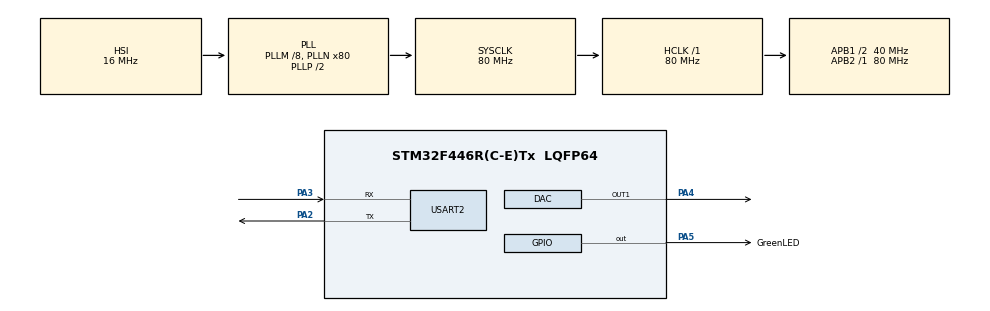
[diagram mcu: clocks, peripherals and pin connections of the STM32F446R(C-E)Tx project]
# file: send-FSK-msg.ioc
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DAC.DAC_Trigger=DAC_TRIGGER_T2_TRGO
Dma.DAC1.0.Direction=DMA_MEMORY_TO_PERIPH
Dma.DAC1.0.FIFOMode=DMA_FIFOMODE_DISABLE
Dma.DAC1.0.Instance=DMA1_Stream5
Dma.DAC1.0.MemDataAlignment=DMA_MDATAALIGN_HALFWORD
Dma.DAC1.0.MemInc=DMA_MINC_ENABLE
Dma.DAC1.0.Mode=DMA_CIRCULAR
Dma.DAC1.0.PeriphDataAlignment=DMA_PDATAALIGN_HALFWORD
Dma.DAC1.0.PeriphInc=DMA_PINC_DISABLE
Dma.DAC1.0.Priority=DMA_PRIORITY_HIGH
Dma.Request0=DAC1
Mcu.Family=STM32F4
Mcu.Name=STM32F446R(C-E)Tx
Mcu.Package=LQFP64
NVIC.DMA1_Stream5_IRQn=true\:0\:0\:false\:false\:true\:false\:true\:true
NVIC.PriorityGroup=NVIC_PRIORITYGROUP_4
PA2.Mode=Asynchronous
PA2.Signal=USART2_TX
PA3.Mode=Asynchronous
PA3.Signal=USART2_RX
PA4.Signal=COMP_DAC1_group
PA5.GPIO_Label=GreenLED
PA5.Signal=GPIO_Output
ProjectManager.HeapSize=0x200
ProjectManager.StackSize=0x400
ProjectManager.TargetToolchain=STM32CubeIDE
RCC.AHBFreq_Value=80000000
RCC.APB1CLKDivider=RCC_HCLK_DIV2
RCC.APB1Freq_Value=40000000
RCC.APB1TimFreq_Value=80000000
RCC.APB2Freq_Value=80000000
RCC.APB2TimFreq_Value=80000000
RCC.CortexFreq_Value=80000000
RCC.HCLKFreq_Value=80000000
RCC.PLLM=8
RCC.PLLN=80
RCC.SYSCLKFreq_VALUE=80000000
RCC.SYSCLKSource=RCC_SYSCLKSOURCE_PLLCLK
RCC.USBFreq_Value=80000000
RCC.VCOOutputFreq_Value=160000000
SH.COMP_DAC1_group.0=DAC_OUT1,DAC_OUT1
TIM2.Period=10000
TIM2.Prescaler=0
TIM2.TIM_MasterOutputTrigger=TIM_TRGO_UPDATE
USART2.VirtualMode=VM_ASYNC
VP_TIM2_VS_ClockSourceINT.Mode=Internal
board=custom

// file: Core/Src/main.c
/* USER CODE BEGIN Header */
/**
  ******************************************************************************
  * @file           : main.c
  * @brief          : Main program body
  ******************************************************************************
  * @attention
  *
  * Copyright (c) 2025 STMicroelectronics.
  * All rights reserved.
  *
  * This software is licensed under terms that can be found in the LICENSE file
  * in the root directory of this software component.
  * If no LICENSE file comes with this software, it is provided AS-IS.
  *
  ******************************************************************************
  */
/* USER CODE END Header */
#include "main.h"

DAC_HandleTypeDef hdac;
DMA_HandleTypeDef hdma_dac1;

TIM_HandleTypeDef htim2;

UART_HandleTypeDef huart2;

/* USER CODE BEGIN PV */

#define NS  128

uint16_t Wave_LUT[NS] = {
		1300, 1350, 1401, 1451, 1501, 1550, 1599, 1647, 1694, 1740, 1786, 1830,
		1872, 1914, 1954, 1992, 2028, 2063, 2096, 2126, 2156, 2182, 2206, 2229,
		2249, 2267, 2282, 2296, 2306, 2314, 2320, 2323, 2324, 2322, 2317, 2310,
		2301, 2289, 2275, 2258, 2240, 2218, 2194, 2169, 2141, 2112, 2080, 2046,
		2010, 1973, 1934, 1894, 1852, 1808, 1764, 1718, 1671, 1624, 1575, 1526,
		1476, 1426, 1376, 1325, 1274, 1224, 1174, 1124, 1074, 1024, 976, 928,
		882, 836, 792, 748, 706, 666, 626, 590, 554, 520, 488, 458, 430, 405,
		382, 360, 341, 324, 310, 298, 289, 282, 278, 276, 276, 280, 286, 294,
		304, 317, 332, 350, 370, 393, 418, 444, 473, 504, 536, 572, 608, 646,
		686, 727, 770, 814, 859, 905, 952, 1000, 1049, 1098, 1148, 1198, 1249, 1300
};

// generated using "msk144code" binary from wsjtx repo
// represents "CQ KK7LHY CN87"

uint16_t MSK_CQ_LUT[144] = {
		1266, 1266, 733, 733, 733, 733, 1266, 1266, 733, 1266, 733, 1266, 733, 1266,
		733, 1266, 733, 1266, 733, 1266, 733, 1266, 733, 1266, 733, 1266, 733, 1266,
		733, 1266, 733, 1266, 733, 733, 1266, 1266, 1266, 733, 733, 733, 1266, 733,
		733, 1266, 733, 1266, 1266, 1266, 733, 733, 1266, 733, 733, 733, 1266, 733,
		1266, 1266, 733, 733, 733, 733, 1266, 733, 1266, 1266, 1266, 733, 1266, 733,
		1266, 733, 733, 1266, 733, 1266, 1266, 733, 733, 733, 733, 733, 1266, 1266,
		733, 1266, 1266, 733, 733, 733, 733, 733, 733, 1266, 1266, 1266, 733, 733,
		1266, 733, 733, 1266, 1266, 733, 733, 1266, 733, 733, 733, 1266, 1266, 733,
		733, 1266, 733, 733, 733, 1266, 733, 733, 1266, 1266, 733, 733, 1266, 1266,
		733, 1266, 1266, 1266, 1266, 733, 1266, 733, 733, 1266, 733, 733, 1266, 1266,
		733, 1266, 1266, 733
};
// 80mhz system clock / 40,000 clock div = 2,000 trigger freq
// 2,000 trigger freq / 2 samples per wavecycle = 1,000 repeats per second
// 1,000 repeats * 2 tones per repeat = 2000 baud

uint16_t MSK_CQ_INV[144] = {
		733, 733, 1266, 1266, 1266, 1266, 733, 733, 1266, 733, 1266, 733, 1266, 733, 1266, 733, 1266, 733, 1266, 733, 1266, 733, 1266, 733, 1266, 733, 1266, 733, 1266, 733, 1266, 733, 1266, 1266, 733, 733, 733, 1266, 1266, 1266, 733, 1266, 1266, 733, 1266, 733, 733, 733, 1266, 1266, 733, 1266, 1266, 1266, 733, 1266, 733, 733, 1266, 1266, 1266, 1266, 733, 1266, 733, 733, 733, 1266, 733, 1266, 733, 1266, 1266, 733, 1266, 733, 733, 1266, 1266, 1266, 1266, 1266, 733, 733, 1266, 733, 733, 1266, 1266, 1266, 1266, 1266, 1266, 733, 733, 733, 1266, 1266, 733, 1266, 1266, 733, 733, 1266, 1266, 733, 1266, 1266, 1266, 733, 733, 1266, 1266, 733, 1266, 1266, 1266, 733, 1266, 1266, 733, 733, 1266, 1266, 733, 733, 1266, 733, 733, 733, 733, 1266, 733, 1266, 1266, 733, 1266, 1266, 733, 733, 1266, 733, 733, 1266
};

uint16_t MSK_QUADCQ_LUT[144] = {
		1266, 1266, 1266, 1266, 1266, 1266, 1266, 1266, 733, 733, 733, 733, 733, 733, 733, 733, 733, 733, 733, 733, 733, 733, 733, 733, 1266, 1266, 1266, 1266, 1266, 1266, 1266, 1266, 733, 733, 733, 733, 1266, 1266, 1266, 1266, 733, 733, 733, 733, 1266, 1266, 1266, 1266, 733, 733, 733, 733, 1266, 1266, 1266, 1266, 733, 733, 733, 733, 1266, 1266, 1266, 1266, 733, 733, 733, 733, 1266, 1266, 1266, 1266, 733, 733, 733, 733, 1266, 1266, 1266, 1266, 733, 733, 733, 733, 1266, 1266, 1266, 1266, 733, 733, 733, 733, 1266, 1266, 1266, 1266, 733, 733, 733, 733, 1266, 1266, 1266, 1266, 733, 733, 733, 733, 1266, 1266, 1266, 1266, 733, 733, 733, 733, 1266, 1266, 1266, 1266, 733, 733, 733, 733, 1266, 1266, 1266, 1266, 733, 733, 733, 733, 733, 733, 733, 733, 1266, 1266, 1266, 1266, 1266, 1266, 1266, 1266
};

uint16_t MSK_FAKE_LUT[144] = {
		733, 1266, 733, 1266, 733, 1266, 733, 1266, 733, 1266, 733, 1266, 733, 1266, 733, 1266,
		733, 1266, 733, 1266, 733, 1266, 733, 1266, 733, 1266, 733, 1266, 733, 1266, 733, 1266,
		733, 1266, 733, 1266, 733, 1266, 733, 1266, 733, 1266, 733, 1266, 733, 1266, 733, 1266,
		733, 1266, 733, 1266, 733, 1266, 733, 1266, 733, 1266, 733, 1266, 733, 1266, 733, 1266,
		733, 1266, 733, 1266, 733, 1266, 733, 1266, 733, 1266, 733, 1266, 733, 1266, 733, 1266,
		733, 1266, 733, 1266, 733, 1266, 733, 1266, 733, 1266, 733, 1266, 733, 1266, 733, 1266,
		733, 1266, 733, 1266, 733, 1266, 733, 1266, 733, 1266, 733, 1266, 733, 1266, 733, 1266,
		733, 1266, 733, 1266, 733, 1266, 733, 1266, 733, 1266, 733, 1266, 733, 1266, 733, 1266,
		733, 1266, 733, 1266, 733, 1266, 733, 1266, 733, 1266, 733, 1266, 733, 1266, 733, 1266
};

uint16_t MSK_QUADFAKE_LUT[144] = {
		733, 733, 733, 733, 1266, 1266, 1266, 1266, 733, 733, 733, 733, 1266, 1266, 1266, 1266,
		733, 733, 733, 733, 1266, 1266, 1266, 1266, 733, 733, 733, 733, 1266, 1266, 1266, 1266,
		733, 733, 733, 733, 1266, 1266, 1266, 1266, 733, 733, 733, 733, 1266, 1266, 1266, 1266,
		733, 733, 733, 733, 1266, 1266, 1266, 1266, 733, 733, 733, 733, 1266, 1266, 1266, 1266,
		733, 733, 733, 733, 1266, 1266, 1266, 1266, 733, 733, 733, 733, 1266, 1266, 1266, 1266,
		733, 733, 733, 733, 1266, 1266, 1266, 1266, 733, 733, 733, 733, 1266, 1266, 1266, 1266,
		733, 733, 733, 733, 1266, 1266, 1266, 1266, 733, 733, 733, 733, 1266, 1266, 1266, 1266,
		733, 733, 733, 733, 1266, 1266, 1266, 1266, 733, 733, 733, 733, 1266, 1266, 1266, 1266,
		733, 733, 733, 733, 1266, 1266, 1266, 1266, 733, 733, 733, 733, 1266, 1266, 1266, 1266
};
// 80mhz system clock / 10,000 clock div = 8,000 trigger freq
// 8,000 trigger freq / 4 samples per symbol = 2000 baud

uint16_t MSK_NARFAKE_LUT[144] = {
		866, 1133, 866, 1133, 866, 1133, 866, 1133, 866, 1133, 866, 1133, 866, 1133, 866, 1133,
		866, 1133, 866, 1133, 866, 1133, 866, 1133, 866, 1133, 866, 1133, 866, 1133, 866, 1133,
		866, 1133, 866, 1133, 866, 1133, 866, 1133, 866, 1133, 866, 1133, 866, 1133, 866, 1133,
		866, 1133, 866, 1133, 866, 1133, 866, 1133, 866, 1133, 866, 1133, 866, 1133, 866, 1133,
		866, 1133, 866, 1133, 866, 1133, 866, 1133, 866, 1133, 866, 1133, 866, 1133, 866, 1133,
		866, 1133, 866, 1133, 866, 1133, 866, 1133, 866, 1133, 866, 1133, 866, 1133, 866, 1133,
		866, 1133, 866, 1133, 866, 1133, 866, 1133, 866, 1133, 866, 1133, 866, 1133, 866, 1133,
		866, 1133, 866, 1133, 866, 1133, 866, 1133, 866, 1133, 866, 1133, 866, 1133, 866, 1133,
		866, 1133, 866, 1133, 866, 1133, 866, 1133, 866, 1133, 866, 1133, 866, 1133, 866, 1133
};

uint16_t MSK_WIDFAKE_LUT[144] = {
		466, 1533, 466, 1533, 466, 1533, 466, 1533, 466, 1533, 466, 1533, 466, 1533, 466, 1533,
		466, 1533, 466, 1533, 466, 1533, 466, 1533, 466, 1533, 466, 1533, 466, 1533, 466, 1533,
		466, 1533, 466, 1533, 466, 1533, 466, 1533, 466, 1533, 466, 1533, 466, 1533, 466, 1533,
		466, 1533, 466, 1533, 466, 1533, 466, 1533, 466, 1533, 466, 1533, 466, 1533, 466, 1533,
		466, 1533, 466, 1533, 466, 1533, 466, 1533, 466, 1533, 466, 1533, 466, 1533, 466, 1533,
		466, 1533, 466, 1533, 466, 1533, 466, 1533, 466, 1533, 466, 1533, 466, 1533, 466, 1533,
		466, 1533, 466, 1533, 466, 1533, 466, 1533, 466, 1533, 466, 1533, 466, 1533, 466, 1533,
		466, 1533, 466, 1533, 466, 1533, 466, 1533, 466, 1533, 466, 1533, 466, 1533, 466, 1533,
		466, 1533, 466, 1533, 466, 1533, 466, 1533, 466, 1533, 466, 1533, 466, 1533, 466, 1533
};

uint16_t MSK_SMOOTH_LUT[160] = {
		733, 733, 733, 733, 733, 733, 733, 733, 733, 733, 733, 733, 733, 733, 733, 733,
		733, 733, 733, 733, 733, 733, 733, 733, 733, 733, 733, 733, 733, 733, 733, 733,
		740, 750, 770, 790, 820, 860, 910, 960, 1040, 1090, 1140, 1180, 1210, 1230, 1250, 1260,
		1266, 1266, 1266, 1266, 1266, 1266, 1266, 1266, 1266, 1266, 1266, 1266, 1266, 1266, 1266, 1266,
		1266, 1266, 1266, 1266, 1266, 1266, 1266, 1266, 1266, 1266, 1266, 1266, 1266, 1266, 1266, 1266,
		1266, 1266, 1266, 1266, 1266, 1266, 1266, 1266, 1266, 1266, 1266, 1266, 1266, 1266, 1266, 1266,
		1266, 1266, 1266, 1266, 1266, 1266, 1266, 1266, 1266, 1266, 1266, 1266, 1266, 1266, 1266, 1266,
		1260, 1250, 1230, 1210, 1180, 1140, 1090, 1040, 960, 910, 860, 820, 790, 770, 750, 740,
		733, 733, 733, 733, 733, 733, 733, 733, 733, 733, 733, 733, 733, 733, 733, 733,
		733, 733, 733, 733, 733, 733, 733, 733, 733, 733, 733, 733, 733, 733, 733, 733
};
// 80mhz system clock / 500 clock div = 160,000 trigger freq
// 160,000 trigger freq / 160 samples per wavecycle = 1,000 repeats per second
// 1,000 repeats * 2 tones per repeat = 2000 baud

uint16_t MSK_SMOOTHWIDE_LUT[160] = {
		466, 466, 466, 466, 466, 466, 466, 466, 466, 466, 466, 466, 466, 466, 466, 466, 466, 466, 466, 466, 466, 466, 466, 466, 466, 466, 466, 466, 466, 466, 466, 466, 480, 500, 540, 580, 640, 720, 820, 920, 1080, 1180, 1280, 1360, 1420, 1460, 1500, 1520, 1532, 1532, 1532, 1532, 1532, 1532, 1532, 1532, 1532, 1532, 1532, 1532, 1532, 1532, 1532, 1532, 1532, 1532, 1532, 1532, 1532, 1532, 1532, 1532, 1532, 1532, 1532, 1532, 1532, 1532, 1532, 1532, 1532, 1532, 1532, 1532, 1532, 1532, 1532, 1532, 1532, 1532, 1532, 1532, 1532, 1532, 1532, 1532, 1532, 1532, 1532, 1532, 1532, 1532, 1532, 1532, 1532, 1532, 1532, 1532, 1532, 1532, 1532, 1532, 1520, 1500, 1460, 1420, 1360, 1280, 1180, 1080, 920, 820, 720, 640, 580, 540, 500, 480, 466, 466, 466, 466, 466, 466, 466, 466, 466, 466, 466, 466, 466, 466, 466, 466, 466, 466, 466, 466, 466, 466, 466, 466, 466, 466, 466, 466, 466, 466, 466, 466
};

/* USER CODE END PV */

void SystemClock_Config(void);
static void MX_GPIO_Init(void);
static void MX_DMA_Init(void);
static void MX_USART2_UART_Init(void);
static void MX_DAC_Init(void);
static void MX_TIM2_Init(void);

int main(void)
{

  /* MCU Configuration--------------------------------------------------------*/

  /* Reset of all peripherals, Initializes the Flash interface and the Systick. */
  HAL_Init();

  /* Configure the system clock */
  SystemClock_Config();

  /* Initialize all configured peripherals */
  MX_GPIO_Init();
  MX_DMA_Init();
  MX_USART2_UART_Init();
  MX_DAC_Init();
  MX_TIM2_Init();
  /* USER CODE BEGIN 2 */

  //uint8_t is_set = 0;

  HAL_DAC_Start_DMA(&hdac, DAC_CHANNEL_1, (uint16_t*)MSK_QUADCQ_LUT, 144, DAC_ALIGN_12B_R);
  HAL_TIM_Base_Start(&htim2);

  /* USER CODE END 2 */

  /* Infinite loop */
  /* USER CODE BEGIN WHILE */
  while (1)
  {
	//HAL_GPIO_WritePin(GPIOA, GPIO_PIN_5, is_set);
	//is_set = (is_set + 1) % 2;
	//HAL_Delay(1000);
    /* USER CODE END WHILE */

  }
}

void SystemClock_Config(void)
{
  RCC_OscInitTypeDef RCC_OscInitStruct = {0};
  RCC_ClkInitTypeDef RCC_ClkInitStruct = {0};

  /** Configure the main internal regulator output voltage
  */
  __HAL_RCC_PWR_CLK_ENABLE();
  __HAL_PWR_VOLTAGESCALING_CONFIG(PWR_REGULATOR_VOLTAGE_SCALE3);

  /** Initializes the RCC Oscillators according to the specified parameters
  * in the RCC_OscInitTypeDef structure.
  */
  RCC_OscInitStruct.OscillatorType = RCC_OSCILLATORTYPE_HSI;
  RCC_OscInitStruct.HSIState = RCC_HSI_ON;
  RCC_OscInitStruct.HSICalibrationValue = RCC_HSICALIBRATION_DEFAULT;
  RCC_OscInitStruct.PLL.PLLState = RCC_PLL_ON;
  RCC_OscInitStruct.PLL.PLLSource = RCC_PLLSOURCE_HSI;
  RCC_OscInitStruct.PLL.PLLM = 8;
  RCC_OscInitStruct.PLL.PLLN = 80;
  RCC_OscInitStruct.PLL.PLLP = RCC_PLLP_DIV2;
  RCC_OscInitStruct.PLL.PLLQ = 2;
  RCC_OscInitStruct.PLL.PLLR = 2;
  if (HAL_RCC_OscConfig(&RCC_OscInitStruct) != HAL_OK)
  {
    Error_Handler();
  }

  /** Initializes the CPU, AHB and APB buses clocks
  */
  RCC_ClkInitStruct.ClockType = RCC_CLOCKTYPE_HCLK|RCC_CLOCKTYPE_SYSCLK
                              |RCC_CLOCKTYPE_PCLK1|RCC_CLOCKTYPE_PCLK2;
  RCC_ClkInitStruct.SYSCLKSource = RCC_SYSCLKSOURCE_PLLCLK;
  RCC_ClkInitStruct.AHBCLKDivider = RCC_SYSCLK_DIV1;
  RCC_ClkInitStruct.APB1CLKDivider = RCC_HCLK_DIV2;
  RCC_ClkInitStruct.APB2CLKDivider = RCC_HCLK_DIV1;

  if (HAL_RCC_ClockConfig(&RCC_ClkInitStruct, FLASH_LATENCY_2) != HAL_OK)
  {
    Error_Handler();
  }
}

static void MX_DAC_Init(void)
{

  DAC_ChannelConfTypeDef sConfig = {0};

  /** DAC Initialization
  */
  hdac.Instance = DAC;
  if (HAL_DAC_Init(&hdac) != HAL_OK)
  {
    Error_Handler();
  }

  /** DAC channel OUT1 config
  */
  sConfig.DAC_Trigger = DAC_TRIGGER_T2_TRGO;
  sConfig.DAC_OutputBuffer = DAC_OUTPUTBUFFER_ENABLE;
  if (HAL_DAC_ConfigChannel(&hdac, &sConfig, DAC_CHANNEL_1) != HAL_OK)
  {
    Error_Handler();
  }

}

static void MX_TIM2_Init(void)
{

  TIM_ClockConfigTypeDef sClockSourceConfig = {0};
  TIM_MasterConfigTypeDef sMasterConfig = {0};

  htim2.Instance = TIM2;
  htim2.Init.Prescaler = 0;
  htim2.Init.CounterMode = TIM_COUNTERMODE_UP;
  htim2.Init.Period = 10000;
  htim2.Init.ClockDivision = TIM_CLOCKDIVISION_DIV1;
  htim2.Init.AutoReloadPreload = TIM_AUTORELOAD_PRELOAD_DISABLE;
  if (HAL_TIM_Base_Init(&htim2) != HAL_OK)
  {
    Error_Handler();
  }
  sClockSourceConfig.ClockSource = TIM_CLOCKSOURCE_INTERNAL;
  if (HAL_TIM_ConfigClockSource(&htim2, &sClockSourceConfig) != HAL_OK)
  {
    Error_Handler();
  }
  sMasterConfig.MasterOutputTrigger = TIM_TRGO_UPDATE;
  sMasterConfig.MasterSlaveMode = TIM_MASTERSLAVEMODE_DISABLE;
  if (HAL_TIMEx_MasterConfigSynchronization(&htim2, &sMasterConfig) != HAL_OK)
  {
    Error_Handler();
  }

}

static void MX_USART2_UART_Init(void)
{

  huart2.Instance = USART2;
  huart2.Init.BaudRate = 115200;
  huart2.Init.WordLength = UART_WORDLENGTH_8B;
  huart2.Init.StopBits = UART_STOPBITS_1;
  huart2.Init.Parity = UART_PARITY_NONE;
  huart2.Init.Mode = UART_MODE_TX_RX;
  huart2.Init.HwFlowCtl = UART_HWCONTROL_NONE;
  huart2.Init.OverSampling = UART_OVERSAMPLING_16;
  if (HAL_UART_Init(&huart2) != HAL_OK)
  {
    Error_Handler();
  }

}

static void MX_DMA_Init(void)
{

  /* DMA controller clock enable */
  __HAL_RCC_DMA1_CLK_ENABLE();

  /* DMA interrupt init */
  /* DMA1_Stream5_IRQn interrupt configuration */
  HAL_NVIC_SetPriority(DMA1_Stream5_IRQn, 0, 0);
  HAL_NVIC_EnableIRQ(DMA1_Stream5_IRQn);

}

static void MX_GPIO_Init(void)
{
  GPIO_InitTypeDef GPIO_InitStruct = {0};

  /* GPIO Ports Clock Enable */
  __HAL_RCC_GPIOA_CLK_ENABLE();

  /*Configure GPIO pin Output Level */
  HAL_GPIO_WritePin(GreenLED_GPIO_Port, GreenLED_Pin, GPIO_PIN_RESET);

  /*Configure GPIO pin : GreenLED_Pin */
  GPIO_InitStruct.Pin = GreenLED_Pin;
  GPIO_InitStruct.Mode = GPIO_MODE_OUTPUT_PP;
  GPIO_InitStruct.Pull = GPIO_NOPULL;
  GPIO_InitStruct.Speed = GPIO_SPEED_FREQ_LOW;
  HAL_GPIO_Init(GreenLED_GPIO_Port, &GPIO_InitStruct);

}

void Error_Handler(void)
{
  __disable_irq();
  while (1)
  {
  }
}
